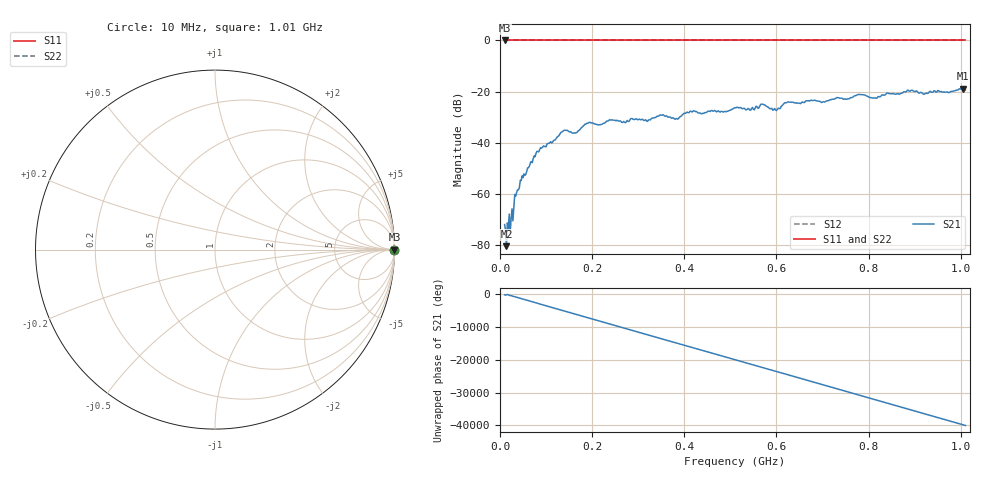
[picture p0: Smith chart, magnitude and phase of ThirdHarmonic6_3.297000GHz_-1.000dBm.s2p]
! 8/17/2025 10:16:14 AM
! C:\ANRITSUVNA\TEMP\TEMP.S2P
! CHANNEL.1
! TR.MEASUREMENT
! RAW.DATA
! RF.CORRECTION.OFF
! AVERAGING.OFF
! IF.BANDWIDTH: 5KHZ
! SWEEPTYPE:  FREQ.SWEEP(Linear)
! Reference Plane Port Info
! PORT:  PORT1  PORT2
! DISTANCE:  0  m  0  m
! TIME:  0  s  0  s
! PHASE.OFFSET:  0  deg.  0  deg.
! LOSS:  0  dB  0  dB
! REF.LOSS:  0  dB  0  dB
! REF.FREQ:  0  Hz  0  Hz
! Power Info
! POWER:  -20  dBm  -20  dBm
! EFF.POWER:  -20  dBm  -20  dBm
! SOURCE.ATTEN:  0  dB  0  dB
! TEST.ATTEN:  0  dB  0  dB
# GHZ S RI R 50.0
! FREQ.GHZ  S11RE  S11IM  S21RE  S21IM  S12RE  S12IM  S22RE  S22IM
!; PortSelection: Port_12
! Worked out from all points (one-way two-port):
!   501 points, 10 MHz to 1.01 GHz, reference 50 ohm
!   highest |S21| = -18.83 dB at 1.004 GHz (marker M1); lowest = -80.5 dB at 14 MHz (marker M2)
!   lowest |S11| = 0.0 dB at 10 MHz (marker M3)
!   |S11| at or under -10 dB: nowhere
!   |S22| runs from 0.0 to 0.0 dB; largest |S21 - S12| = 1.1
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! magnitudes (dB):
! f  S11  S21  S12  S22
! 10 MHz  0.0  -72.1  0.0  0.0
! 14 MHz  0.0  -80.5  0.0  0.0
! 26 MHz  0.0  -65.9  0.0  0.0
! 34 MHz  0.0  -60.9  0.0  0.0
! 48 MHz  0.0  -53.0  0.0  0.0
! 78 MHz  0.0  -44.3  0.0  0.0
! 136 MHz  0.0  -35.7  0.0  0.0
! 162 MHz  0.0  -36.2  0.0  0.0
! 178 MHz  0.0  -33.9  0.0  0.0
! 192 MHz  0.0  -32.3  0.0  0.0
! 322 MHz  0.0  -31.2  0.0  0.0
! 344 MHz  0.0  -29.7  0.0  0.0
! 382 MHz  0.0  -30.6  0.0  0.0
! 416 MHz  0.0  -28.0  0.0  0.0
! 510 MHz  0.0  -26.3  0.0  0.0
! 570 MHz  0.0  -24.9  0.0  0.0
! 596 MHz  0.0  -26.6  0.0  0.0
! 622 MHz  0.0  -24.3  0.0  0.0
! 678 MHz  0.0  -23.5  0.0  0.0
! 844 MHz  0.0  -20.8  0.0  0.0
! 1.004 GHz  0.0  -18.8  0.0  0.0
! 1.01 GHz  0.0  -19.5  0.0  0.0
